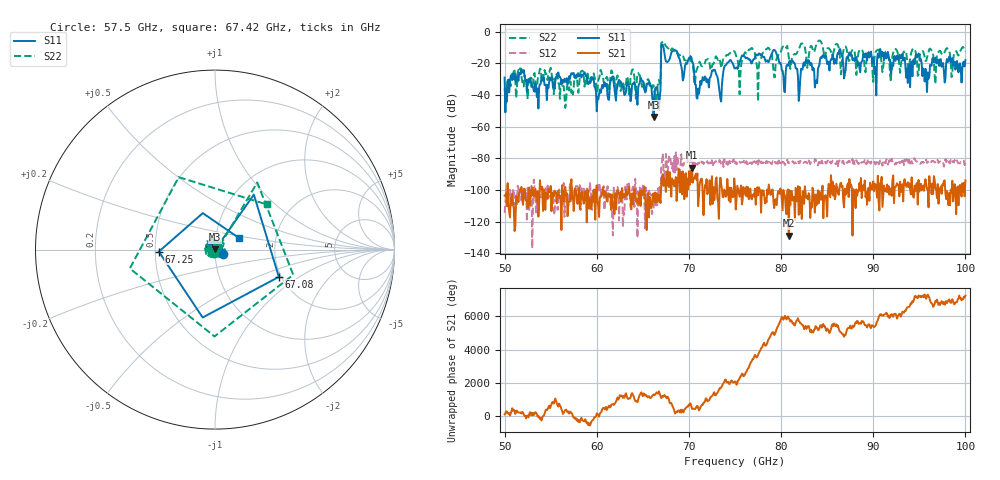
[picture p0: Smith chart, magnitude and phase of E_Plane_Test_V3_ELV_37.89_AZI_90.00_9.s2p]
! 11/26/2026 4:05:12 PM
! C:\ANRITSUVNA\TEMP\TEMP.S2P
! CHANNEL.1
! TR.MEASUREMENT
! RAW.DATA
# HZ S RI R 50.0
! FREQ.HZ  S11RE  S11IM  S21RE  S21IM  S12RE  S12IM  S22RE  S22IM
!; PortSelection: Port_12
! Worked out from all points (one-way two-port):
!   601 points, 50 GHz to 100 GHz, reference 50 ohm
!   highest |S21| = -85.94 dB at 70.33 GHz (marker M1); lowest = -128.9 dB at 80.83 GHz (marker M2)
!   lowest |S11| = -53.9 dB at 66.17 GHz (marker M3), VSWR 1.00, Z = 50.1 + j0.147 ohm
!   |S11| at or under -10 dB: start of sweep to 67 GHz; 67.25 GHz to end of sweep
!   |S22| runs from -48.1 to -5.6 dB; largest |S21 - S12| = 0.00019
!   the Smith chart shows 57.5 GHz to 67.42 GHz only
!   S11 on the Smith chart (normalised r, x): 57.5 GHz: 1.09, -0.05; 67.08 GHz: 1.94, -0.69; 67.25 GHz: 0.52, -0.01; 67.42 GHz: 1.29, +0.17
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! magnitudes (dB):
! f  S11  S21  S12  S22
! 50 GHz  -29.0  -103.7  -114.6  -35.8
! 51.67 GHz  -26.3  -100.3  -101.5  -23.3
! 53.42 GHz  -34.7  -104.3  -114.3  -35.4
! 57.5 GHz  -26.1  -113.3  -104.4  -34.7
! 58.42 GHz  -27.2  -100.9  -101.1  -24.7
! 60.17 GHz  -42.8  -110.5  -99.7  -30.4
! 66.17 GHz  -53.9  -102.3  -111.1  -34.0
! 66.67 GHz  -41.5  -103.9  -99.0  -31.7
! 67.08 GHz  -8.2  -91.4  -82.5  -6.8
! 67.25 GHz  -10.1  -97.4  -89.1  -6.3
! 67.42 GHz  -16.6  -95.6  -93.6  -8.3
! 70.33 GHz  -18.4  -85.9  -82.0  -19.1
! 70.92 GHz  -42.4  -89.7  -84.2  -23.0
! 75 GHz  -23.3  -98.4  -84.1  -13.0
! 75.5 GHz  -19.5  -104.3  -82.2  -39.6
! 80.83 GHz  -19.9  -128.9  -82.4  -15.5
! 83.42 GHz  -24.4  -98.6  -82.1  -10.8
! 91.67 GHz  -16.6  -97.6  -83.0  -15.2
! 93.75 GHz  -32.5  -95.2  -81.1  -21.4
! 94.83 GHz  -15.1  -109.3  -82.7  -27.9
! 95.83 GHz  -38.2  -99.4  -83.0  -16.5
! 100 GHz  -18.0  -94.0  -82.1  -12.6
